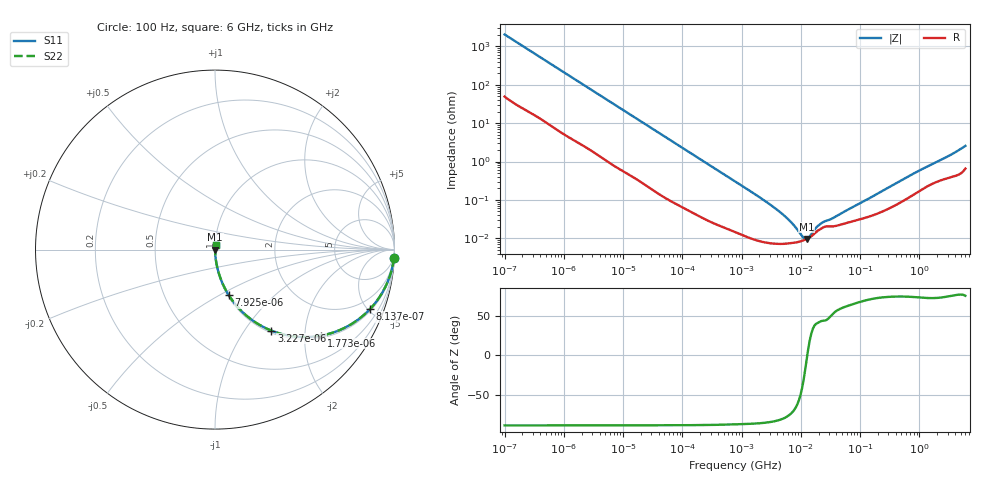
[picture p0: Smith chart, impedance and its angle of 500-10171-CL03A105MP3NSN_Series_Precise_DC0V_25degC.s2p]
! CL03A105MP3NSN Multilayer Ceramic Capacitor Sparameter Model
! Model Generated by Samsung Electro-Mechanics
! Samsung Sparameter Version 5.0
! Date : Feb-10-2026
! Products : Multilayer Ceramic Capacitor(General)
! Characteristics :
!  Nominal Capacitance = 1uF
!  Capacitance Tolerance = ¡¾20%
!  TCC = X5R(-55 ~ +85 degC.)
!  Rated Voltage = 10Vdc
!  Size = 0201(unit:inch), 0603(unit:mm)
!  Length = 0.60¡¾0.05mm
!  Width = 0.30¡¾0.05mm
!  Thickness = 0.30¡¾0.05mm
!  Reliability level = Standard
!  Lineup = Lineup Normal
!  Feature = Features Normal
!  Measurement Temperature : 25degC.
!  DC bias Value = 0V
!  Frequency : 100Hz ~ 6GHz
! External Node Assignments :
!  1  o---||---o  2
# MHz S RI R 50.0
! Freq.  Real(S11)  Im(S11)  Real(S12)  Im(S12)  Real(S21)  Im(S21)  Real(S22)  Im(S22)
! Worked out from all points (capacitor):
!   300 points, 100 Hz to 6 GHz, reference 50 ohm
!   read as one part in series: C = 773 nF near 106.2 Hz
!   lowest |Z| = 9.61 mohm at 12.55 MHz (marker M1)
!   series resonance near 12.86 MHz, so ESL is about 200 pH
!   S11 on the Smith chart (normalised r, x): 100 Hz: 2, -41; 813.7 Hz: 1.13, -5.20; 1.773 kHz: 1.06, -2.41; 3.227 kHz: 1.03, -1.34; 7.925 kHz: 1.01, -0.55; 6 GHz: 1.01, +0.05
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0.0001  0.9965 -0.0485  0.00352 0.0485  0.00352 0.0485  0.9965 -0.0485
0.0003120785  0.9746 -0.1454  0.0254 0.1454  0.0254 0.1454  0.9746 -0.1454
0.0008137405  0.8652 -0.3296  0.1348 0.3296  0.1348 0.3296  0.8652 -0.3296
0.001772827  0.5907 -0.4792  0.4093 0.4792  0.4093 0.4792  0.5907 -0.4792
0.001998454  0.5343 -0.4862  0.4657 0.4862  0.4657 0.4862  0.5343 -0.4862
0.003227047  0.3143 -0.4516  0.6857 0.4516  0.6857 0.4516  0.3143 -0.4516
0.004907976  0.1706 -0.3638  0.8294 0.3638  0.8294 0.3638  0.1706 -0.3638
0.00792526  0.0765 -0.2537  0.9235 0.2537  0.9235 0.2537  0.0765 -0.2537
0.01626223  0.0216 -0.133  0.9784 0.133  0.9784 0.133  0.0216 -0.133
0.03993819  0.00458 -0.056  0.9954 0.056  0.9954 0.056  0.00458 -0.056
0.7981464  0.000152 -0.00296  0.9998 0.00296  0.9998 0.00296  0.000152 -0.00296
4.270427  7.15e-05 -0.000503  0.9999 0.000503  0.9999 0.000503  7.15e-05 -0.000503
6.895764  7.48e-05 -0.000249  0.9999 0.000249  0.9999 0.000249  7.48e-05 -0.000249
11.13508  8.85e-05 -5.38e-05  0.9999 5.38e-05  0.9999 5.38e-05  8.85e-05 -5.38e-05
12.55224  9.57e-05 -8.77e-06  0.9999 8.77e-06  0.9999 8.77e-06  9.57e-05 -8.77e-06
13.32708  0.0001 1.36e-05  0.9999 -1.36e-05  0.9999 -1.36e-05  0.0001 1.36e-05
15.95059  0.000121 7.98e-05  0.9999 -7.98e-05  0.9999 -7.98e-05  0.000121 7.98e-05
19.09055  0.000155 0.000134  0.9998 -0.000134  0.9998 -0.000134  0.000155 0.000134
24.25906  0.000194 0.000185  0.9998 -0.000185  0.9998 -0.000185  0.000194 0.000185
34.75019  0.000204 0.000265  0.9998 -0.000265  0.9998 -0.000265  0.000204 0.000265
318.7652  0.000616 0.00211  0.9994 -0.00211  0.9994 -0.00211  0.000616 0.00211
6000  0.0071 0.0244  0.9929 -0.0244  0.9929 -0.0244  0.0071 0.0244
